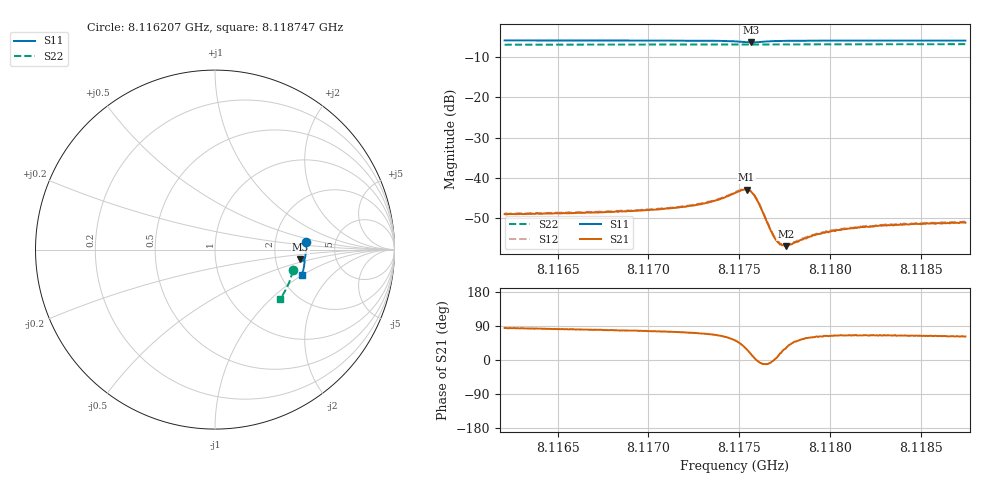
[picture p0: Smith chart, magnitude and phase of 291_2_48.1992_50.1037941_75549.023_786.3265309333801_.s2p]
#  HZ  S  RI  R  50.00
! Rohde & Schwarz Vector Network Analyzer
! Rohde-Schwarz,ZNB20-2Port,1311601062101988,3.16
! Created: UTC 3/20/2024, 11:49:04 AM
! freq[Hz]  re:S11  im:S11  re:S21  im:S21  re:S12  im:S12  re:S22  im:S22
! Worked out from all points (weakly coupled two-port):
!   401 points, 8.116207 GHz to 8.118747 GHz, reference 50 ohm
!   highest |S21| = -42.90 dB at 8.11754 GHz (marker M1); lowest = -57.0 dB at 8.117756 GHz (marker M2)
!   lowest |S11| = -6.4 dB at 8.117566 GHz (marker M3), VSWR 2.84, Z = 139 - j19.3 ohm
!   |S11| at or under -10 dB: nowhere
!   |S22| runs from -7.0 to -6.8 dB; largest |S21 - S12| = 0.00018
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8.1162073e9  0.5053 0.0428  0.000347 0.00352  0.000409 0.00357  0.4337 -0.1157
8.1166327e9  0.5063 0.0106  0.000608 0.00361  0.000702 0.00367  0.4265 -0.1443
8.117058e9  0.5051 -0.0225  0.000995 0.00395  0.00107 0.004  0.4171 -0.1724
8.1172484e9  0.503 -0.0386  0.00143 0.00429  0.00155 0.00438  0.4121 -0.1849
8.1173183e9  0.5013 -0.045  0.00173 0.00455  0.00185 0.0046  0.4103 -0.1895
8.1173881e9  0.4988 -0.0521  0.00228 0.00488  0.00241 0.00494  0.4082 -0.1939
8.117477e9  0.4907 -0.0609  0.004 0.00511  0.00411 0.00517  0.4055 -0.1997
8.117515e9  0.4837 -0.0621  0.00539 0.00454  0.00552 0.00456  0.404 -0.2019
8.1175404e9  0.4786 -0.0594  0.00628 0.00344  0.00644 0.00344  0.4033 -0.2032
8.1175658e9  0.4763 -0.0536  0.00648 0.00171  0.00661 0.00169  0.4024 -0.2045
8.1175849e9  0.4778 -0.049  0.00595 0.000486  0.00606 0.000431  0.4019 -0.2055
8.1176039e9  0.4814 -0.0461  0.00501 -0.000296  0.00511 -0.000334  0.4017 -0.2065
8.1176737e9  0.4938 -0.0495  0.0022 -0.000262  0.00222 -0.000276  0.4002 -0.2111
8.1176991e9  0.4958 -0.0526  0.00174 9.1e-05  0.00178 8.87e-05  0.3997 -0.2128
8.1177245e9  0.4973 -0.0557  0.00142 0.000438  0.00147 0.000368  0.3988 -0.2144
8.1177563e9  0.4982 -0.0595  0.00122 0.000718  0.00124 0.000763  0.398 -0.2164
8.1177817e9  0.4986 -0.0623  0.00112 0.00098  0.00112 0.00102  0.397 -0.2181
8.1179023e9  0.4987 -0.0742  0.000957 0.00166  0.000967 0.00168  0.3934 -0.2258
8.1180483e9  0.4972 -0.0865  0.000946 0.00204  0.00102 0.00205  0.3887 -0.2347
8.1181689e9  0.4956 -0.096  0.00103 0.00221  0.00103 0.00227  0.3844 -0.2421
8.1183276e9  0.4931 -0.1082  0.00109 0.00233  0.00115 0.00237  0.3787 -0.2519
8.1187466e9  0.485 -0.139  0.0013 0.00245  0.00138 0.00253  0.3628 -0.2764
